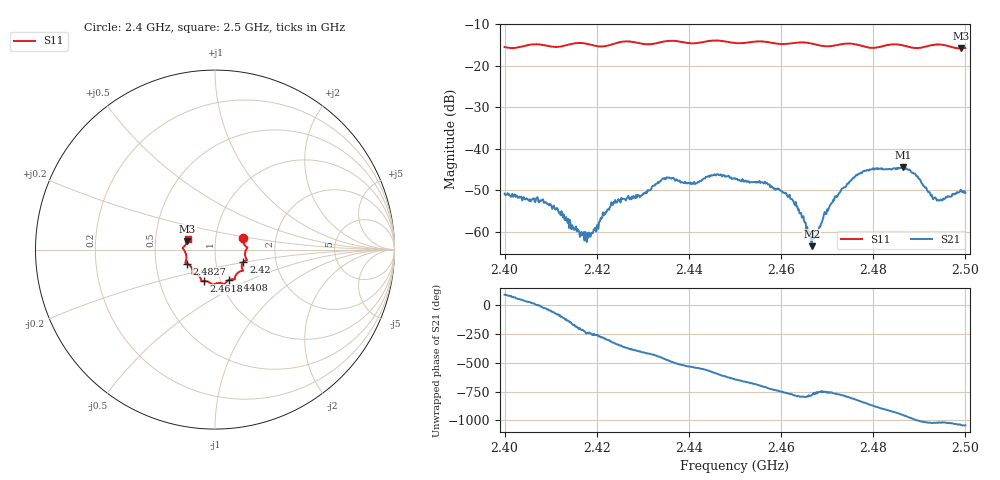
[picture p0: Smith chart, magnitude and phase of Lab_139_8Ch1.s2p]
# Hz S RI R 50
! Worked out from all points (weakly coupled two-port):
!   601 points, 2.4 GHz to 2.5 GHz, reference 50 ohm
!   highest |S21| = -44.49 dB at 2.4865 GHz (marker M1); lowest = -63.4 dB at 2.4667 GHz (marker M2)
!   lowest |S11| = -15.8 dB at 2.499 GHz (marker M3), VSWR 1.38, Z = 36.5 + j3.52 ohm
!   |S11| at or under -10 dB: start of sweep to end of sweep
!   S12 and S22 are empty: the file has one direction only
!   S11 on the Smith chart (normalised r, x): 2.4 GHz: 1.36, +0.17; 2.42 GHz: 1.36, -0.19; 2.4408 GHz: 1.10, -0.39; 2.4618 GHz: 0.84, -0.30; 2.4827 GHz: 0.72, -0.12; 2.5 GHz: 0.73, +0.09
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2.4e9  0.1559 0.0619  0.000143 0.00289  0 0  0 0
2.408667e9  0.1766 0.00474  0.00199 -0.00104  0 0  0 0
2.416667e9  0.178 -0.0594  -0.000786 0.000619  0 0  0 0
2.418167e9  0.1713 -0.061  -0.000344 0.000778  0 0  0 0
2.42e9  0.1579 -0.0692  -0.00018 0.00113  0 0  0 0
2.4235e9  0.1504 -0.1032  0.00175 0.00117  0 0  0 0
2.433333e9  0.1119 -0.1521  0.000217 -0.00401  0 0  0 0
2.440833e9  0.0789 -0.1689  -0.00382 -8.64e-05  0 0  0 0
2.445833e9  0.0517 -0.1949  -0.00301 0.00373  0 0  0 0
2.45e9  0.028 -0.1857  0.00112 0.00429  0 0  0 0
2.457e9  -0.0185 -0.192  0.00384 0.000125  0 0  0 0
2.461833e9  -0.0602 -0.175  0.00181 -0.00214  0 0  0 0
2.466667e9  -0.0769 -0.1685  0.000341 -0.00058  0 0  0 0
2.4675e9  -0.0788 -0.1622  0.000564 -0.000649  0 0  0 0
2.4715e9  -0.1101 -0.1358  0.00163 -0.00174  0 0  0 0
2.475833e9  -0.1262 -0.132  -0.000188 -0.00445  0 0  0 0
2.482667e9  -0.1572 -0.078  -0.00563 0.000645  0 0  0 0
2.483333e9  -0.1614 -0.0764  -0.00557 0.00133  0 0  0 0
2.4865e9  -0.1632 -0.0648  -0.00345 0.00487  0 0  0 0
2.4935e9  -0.1796 0.00667  0.00132 0.00223  0 0  0 0
2.499e9  -0.1544 0.047  0.0024 0.00215  0 0  0 0
2.5e9  -0.152 0.0615  0.00232 0.00183  0 0  0 0
